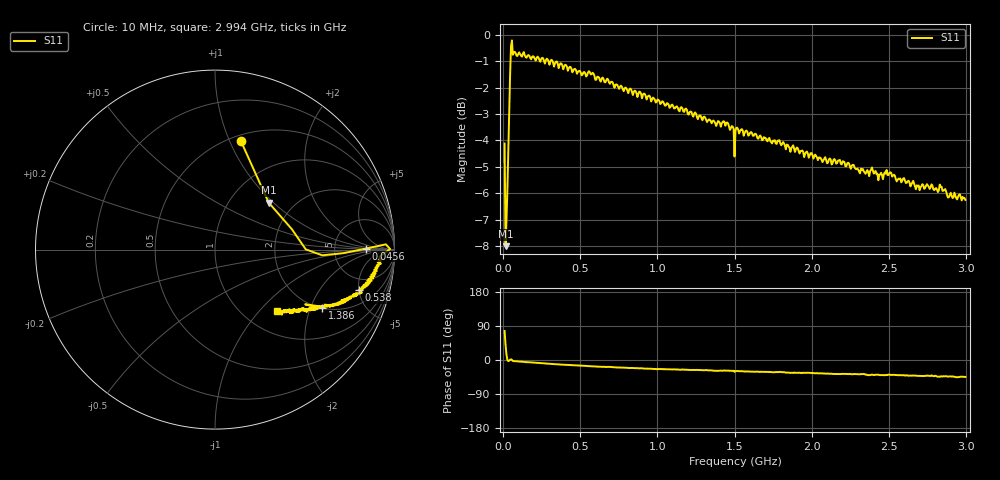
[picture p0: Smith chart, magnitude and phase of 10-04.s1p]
# HZ S RI R 50
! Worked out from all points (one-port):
!   504 points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, 10 MHz to 2.994 GHz, reference 50 ohm
!   lowest |S11| = -8.0 dB at 15.93 MHz (marker M1), VSWR 2.32, Z = 75.1 + j46.8 ohm
!   |S11| at or under -10 dB: nowhere
!   S11 on the Smith chart (normalised r, x): 10 MHz: 0.56, +1.10; 45.6 MHz: 12, +0; 538 MHz: 3.42, -5.04; 1.386 GHz: 2.01, -2.42; 2.994 GHz: 1.40, -1.26
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1e7  0.144 0.6055
1.593254e7  0.2988 0.2623
2.186508e7  0.4284 0.1134
2.779762e7  0.5059 0.00113
3.373016e7  0.5972 -0.0317
4.559524e7  0.8402 0.00538
5.152778e7  0.9518 0.0293
5.746032e7  0.9759 0.0029
6.339286e7  0.9158 -0.0403
7.525794e7  0.9272 -0.0524
1.52381e8  0.9008 -0.0877
3.8375e8  0.8553 -0.1855
5.379961e8  0.8032 -0.2244
7.575e8  0.7505 -0.2709
1.13125e9  0.6598 -0.307
1.386349e9  0.5966 -0.3245
1.445675e9  0.6017 -0.3193
1.505e9  0.5737 -0.3237
1.522798e9  0.5763 -0.3239
1.87875e9  0.5101 -0.3479
2.2525e9  0.4426 -0.3388
2.329623e9  0.4436 -0.3366
2.359286e9  0.426 -0.3545
2.507599e9  0.4243 -0.3481
2.62625e9  0.3965 -0.3502
2.786429e9  0.3746 -0.3455
2.833889e9  0.3748 -0.3532
2.994068e9  0.3461 -0.3419
